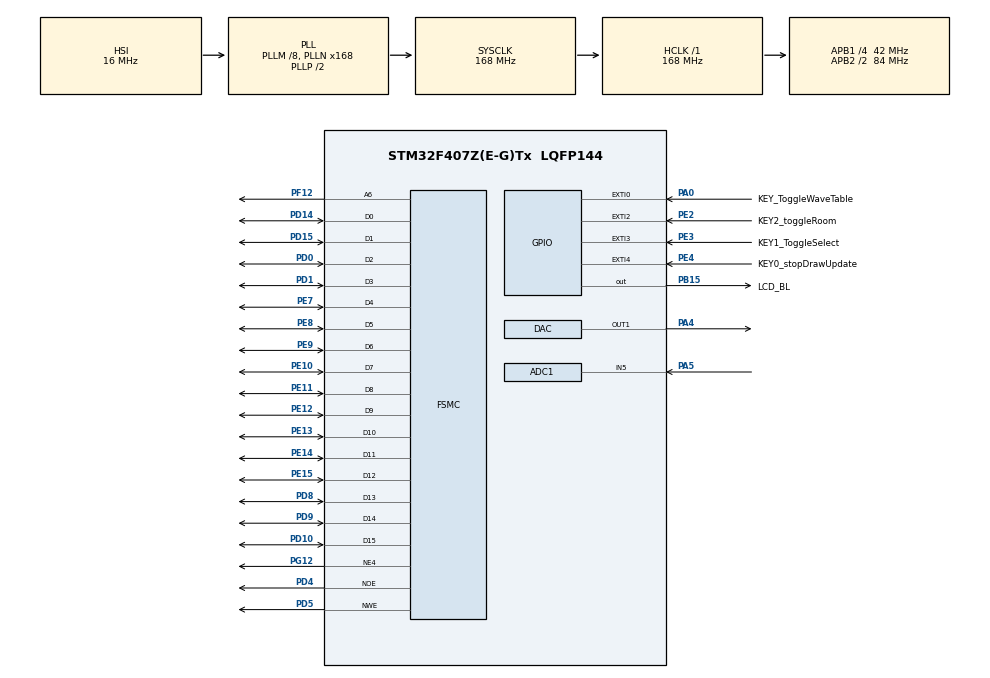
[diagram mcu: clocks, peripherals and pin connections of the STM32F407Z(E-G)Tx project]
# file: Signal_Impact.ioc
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ADC1.Channel-0\#ChannelRegularConversion=ADC_CHANNEL_5
ADC1.ExternalTrigConv=ADC_EXTERNALTRIGCONV_T3_TRGO
ADC1.NbrOfConversion=1
ADC1.NbrOfConversionFlag=1
ADC1.Rank-0\#ChannelRegularConversion=1
ADC1.SamplingTime-0\#ChannelRegularConversion=ADC_SAMPLETIME_3CYCLES
ADC1.master=1
DAC.DAC_OutputBuffer=DAC_OUTPUTBUFFER_DISABLE
DAC.DAC_Trigger=DAC_TRIGGER_T2_TRGO
Dma.ADC1.1.Direction=DMA_PERIPH_TO_MEMORY
Dma.ADC1.1.FIFOMode=DMA_FIFOMODE_ENABLE
Dma.ADC1.1.FIFOThreshold=DMA_FIFO_THRESHOLD_FULL
Dma.ADC1.1.Instance=DMA2_Stream0
Dma.ADC1.1.MemBurst=DMA_MBURST_SINGLE
Dma.ADC1.1.MemDataAlignment=DMA_MDATAALIGN_HALFWORD
Dma.ADC1.1.MemInc=DMA_MINC_ENABLE
Dma.ADC1.1.Mode=DMA_NORMAL
Dma.ADC1.1.PeriphBurst=DMA_PBURST_SINGLE
Dma.ADC1.1.PeriphDataAlignment=DMA_PDATAALIGN_HALFWORD
Dma.ADC1.1.PeriphInc=DMA_PINC_DISABLE
Dma.ADC1.1.Priority=DMA_PRIORITY_LOW
Dma.DAC1.0.Direction=DMA_MEMORY_TO_PERIPH
Dma.DAC1.0.FIFOMode=DMA_FIFOMODE_DISABLE
Dma.DAC1.0.Instance=DMA1_Stream5
Dma.DAC1.0.MemDataAlignment=DMA_MDATAALIGN_HALFWORD
Dma.DAC1.0.MemInc=DMA_MINC_ENABLE
Dma.DAC1.0.Mode=DMA_CIRCULAR
Dma.DAC1.0.PeriphDataAlignment=DMA_PDATAALIGN_HALFWORD
Dma.DAC1.0.PeriphInc=DMA_PINC_DISABLE
Dma.DAC1.0.Priority=DMA_PRIORITY_HIGH
Dma.Request0=DAC1
Dma.Request1=ADC1
FSMC.AddressSetupTime1=0
FSMC.DataSetupTime1=15
FSMC.ExtendedDataSetupTime1=1
FSMC.ExtendedMode1=FSMC_EXTENDED_MODE_ENABLE
Mcu.Family=STM32F4
Mcu.Name=STM32F407Z(E-G)Tx
Mcu.Package=LQFP144
NVIC.DMA1_Stream5_IRQn=true\:0\:0\:false\:false\:true\:false\:true\:true
NVIC.DMA2_Stream0_IRQn=true\:0\:0\:false\:false\:true\:false\:true\:true
NVIC.EXTI0_IRQn=true\:0\:0\:false\:false\:true\:true\:true\:true
NVIC.EXTI2_IRQn=true\:0\:0\:false\:false\:true\:true\:true\:true
NVIC.EXTI3_IRQn=true\:0\:0\:false\:false\:true\:true\:true\:true
NVIC.EXTI4_IRQn=true\:0\:0\:false\:false\:true\:true\:true\:true
NVIC.PriorityGroup=NVIC_PRIORITYGROUP_4
PA0-WKUP.GPIO_Label=KEY_ToggleWaveTable
PA0-WKUP.GPIO_ModeDefaultEXTI=GPIO_MODE_IT_RISING
PA0-WKUP.GPIO_PuPd=GPIO_PULLDOWN
PA0-WKUP.Signal=GPXTI0
PA4.Signal=COMP_DAC1_group
PA5.Signal=ADCx_IN5
PB15.GPIO_Label=LCD_BL
PB15.GPIO_PuPd=GPIO_PULLUP
PB15.GPIO_Speed=GPIO_SPEED_FREQ_HIGH
PB15.PinState=GPIO_PIN_SET
PB15.Signal=GPIO_Output
PD0.Signal=FSMC_D2_DA2
PD1.Signal=FSMC_D3_DA3
PD10.Signal=FSMC_D15_DA15
PD14.Signal=FSMC_D0_DA0
PD15.Signal=FSMC_D1_DA1
PD4.Signal=FSMC_NOE
PD5.Signal=FSMC_NWE
PD8.Signal=FSMC_D13_DA13
PD9.Signal=FSMC_D14_DA14
PE10.Signal=FSMC_D7_DA7
PE11.Signal=FSMC_D8_DA8
PE12.Signal=FSMC_D9_DA9
PE13.Signal=FSMC_D10_DA10
PE14.Signal=FSMC_D11_DA11
PE15.Signal=FSMC_D12_DA12
PE2.GPIO_Label=KEY2_toggleRoom
PE2.GPIO_ModeDefaultEXTI=GPIO_MODE_IT_FALLING
PE2.GPIO_PuPd=GPIO_PULLUP
PE2.Signal=GPXTI2
PE3.GPIO_Label=KEY1_ToggleSelect
PE3.GPIO_ModeDefaultEXTI=GPIO_MODE_IT_FALLING
PE3.GPIO_PuPd=GPIO_PULLUP
PE3.Signal=GPXTI3
PE4.GPIO_Label=KEY0_stopDrawUpdate
PE4.GPIO_ModeDefaultEXTI=GPIO_MODE_IT_FALLING
PE4.GPIO_PuPd=GPIO_PULLUP
PE4.Signal=GPXTI4
PE7.Signal=FSMC_D4_DA4
PE8.Signal=FSMC_D5_DA5
PE9.Signal=FSMC_D6_DA6
PF12.Signal=FSMC_A6
PG12.Mode=NorPsramChipSelect4_1
PG12.Signal=FSMC_NE4
ProjectManager.HeapSize=0x200
ProjectManager.StackSize=0x400
ProjectManager.TargetToolchain=STM32CubeIDE
RCC.48MHZClocksFreq_Value=84000000
RCC.AHBFreq_Value=168000000
RCC.APB1CLKDivider=RCC_HCLK_DIV4
RCC.APB1Freq_Value=42000000
RCC.APB1TimFreq_Value=84000000
RCC.APB2CLKDivider=RCC_HCLK_DIV2
RCC.APB2Freq_Value=84000000
RCC.APB2TimFreq_Value=168000000
RCC.CortexFreq_Value=168000000
RCC.HCLKFreq_Value=168000000
RCC.HSE_VALUE=25000000
RCC.HSI_VALUE=16000000
RCC.LSE_VALUE=32768
RCC.PLLM=8
RCC.PLLN=168
RCC.SYSCLKFreq_VALUE=168000000
RCC.SYSCLKSource=RCC_SYSCLKSOURCE_PLLCLK
RCC.VCOOutputFreq_Value=336000000
SH.ADCx_IN5.0=ADC1_IN5,IN5
SH.COMP_DAC1_group.0=DAC_OUT1,DAC_OUT1
SH.FSMC_A6.0=FSMC_A6,A6_1
SH.FSMC_D0_DA0.0=FSMC_D0,16b-d1
SH.FSMC_D10_DA10.0=FSMC_D10,16b-d1
SH.FSMC_D11_DA11.0=FSMC_D11,16b-d1
SH.FSMC_D12_DA12.0=FSMC_D12,16b-d1
SH.FSMC_D13_DA13.0=FSMC_D13,16b-d1
SH.FSMC_D14_DA14.0=FSMC_D14,16b-d1
SH.FSMC_D15_DA15.0=FSMC_D15,16b-d1
SH.FSMC_D1_DA1.0=FSMC_D1,16b-d1
SH.FSMC_D2_DA2.0=FSMC_D2,16b-d1
SH.FSMC_D3_DA3.0=FSMC_D3,16b-d1
SH.FSMC_D4_DA4.0=FSMC_D4,16b-d1
SH.FSMC_D5_DA5.0=FSMC_D5,16b-d1
SH.FSMC_D6_DA6.0=FSMC_D6,16b-d1
SH.FSMC_D7_DA7.0=FSMC_D7,16b-d1
SH.FSMC_D8_DA8.0=FSMC_D8,16b-d1
SH.FSMC_D9_DA9.0=FSMC_D9,16b-d1
SH.FSMC_NOE.0=FSMC_NOE,Lcd1
SH.FSMC_NWE.0=FSMC_NWE,Lcd1
TIM2.AutoReloadPreload=TIM_AUTORELOAD_PRELOAD_ENABLE
TIM2.Period=840-1
TIM2.TIM_MasterOutputTrigger=TIM_TRGO_UPDATE
TIM3.AutoReloadPreload=TIM_AUTORELOAD_PRELOAD_ENABLE
TIM3.Period=2100-1
TIM3.TIM_MasterOutputTrigger=TIM_TRGO_UPDATE
VP_TIM2_VS_ClockSourceINT.Mode=Internal
VP_TIM3_VS_ClockSourceINT.Mode=Internal
board=custom

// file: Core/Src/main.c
/* USER CODE BEGIN Header */
/**
 ******************************************************************************
 * @file           : main.c
 * @brief          : Main program body
 ******************************************************************************
 * @attention
 *
 * Copyright (c) 2024 STMicroelectronics.
 * All rights reserved.
 *
 * This software is licensed under terms that can be found in the LICENSE file
 * in the root directory of this software component.
 * If no LICENSE file comes with this software, it is provided AS-IS.
 *
 ******************************************************************************
 */
/* USER CODE END Header */
#include "main.h"
#include "adc.h"
#include "dac.h"
#include "dma.h"
#include "tim.h"
#include "gpio.h"
#include "fsmc.h"

/* USER CODE BEGIN Includes */
#include "../../Drivers/BSP/LCD/lcd.h"

#include "waveform_table.h"
#include "arm_math.h"
#include "arm_const_structs.h"
#include "lcdMaster.h"
/* USER CODE END Includes */

void SystemClock_Config(void);

/* USER CODE BEGIN 0 */
//标志位
//（波形绘制准备&本轮ADC-DMA完成）标志位，配合完成波形采样及显示工作
uint8_t Sign_readyDisplay = 0;
uint8_t Sign_samplingOver = 0;
//DAC发生波形切换标志位
uint8_t Sign_dacToggleWave = 0;
//波形显示缩放标志位
uint8_t Sign_waveZoomIn = 0;
uint8_t Sign_waveZoomOut = 0;
//文本刷新标志位，默认为1，即第一次绘图刷新一次文本，将文本显示出来
uint8_t Sign_stringUpdate = 1;
//程序运行标志位，默认为0，为1则程序暂停运行，方便观察波形
uint8_t Sign_stop = 0;
//波形存在标志位,0不存在,1存在
uint8_t Sign_wave_exist = 0;
//程序当前功能{0:波形,1:调频,2:缩放,3:暂停}
uint8_t Sign_function = 0;
//程序当前数据类型{0:基波频率,1:信号幅值}
uint8_t valueData_type = 0;

//当前发生波频率
uint16_t wave_frequency = 1000;

//采样波基频
uint16_t base_frequency = 1000;
//采样波最值及其在采样点中的对应位置{最大值,最小值},{最大值位置,最小值位置}
float wave_maximum[2] = { 3.30, 0.00 };
uint32_t wave_maximum_index[2] = { 0, 0 };
//求解最值专用缓存，求解范围为绘图区域
float wave_maximum_Cache[plot_size] = { 0 };

//两个波，一个时域、一个频域
wave wave_t = { 't', 1, 1, { 0 } };
wave wave_f = { 'f', 2, 1, { 0 } };

//DAC波形选择指针，用来调整DAC当前生成的波形，默认为正弦波
uint16_t *wave_table[4] = { sin_table, square_table, triangle_table,
		sawtooth_table };
uint16_t wave_table_i = 0;

//ADC采样结果缓存
uint16_t adc_cache[adc_cache_size];

//ADC采样频率
//uint32_t adc_fs = 40e3;
uint32_t adc_fs = 51.2e3;

//lcd显示的字符信息
//ADC采样频率信息、当前选中的波形、放大倍数
char *show_string_fs = { "fs:51.2kHz" };
//char* show_string_choice[2] = {"choice:t","choice:f"};
//char* show_string_zoomIn[4] = {"倍数:1","倍数:2","倍数:3","倍数:4"};
//char* show_string_waveType[4] = {"正弦","方波","三角","锯齿"};
//char* show_string_function[4] = {"波形","调频","缩放","暂停"};
char *show_string_zoomIn[4] = { "Z1", "Z2", "Z3", "Z4" };
char *show_string_waveType[4] = { "sine", "square", "triangle", "sawtooth" };
char *show_string_function[5] =
		{ "wave", "genFre", "zoom", "section", "measure" };
char *show_string_stopORrun[2] = { "dynamic", "static" };
char *show_string_measureType[2] = { "baseFre", "voltage" };
//当前波形频率
char show_string_wave_frequency[10] = { "1000Hz" };
//基波频率
char show_string_base_frequency[16] = { "BF:1000Hz" };
//电压最值
char show_string_voltage_maximum[2][16] = { { "Vmax:3.30V" }, { "Vmin:0.00V" } };
//波形缩放(放大)倍数{1,2,3,4}
uint16_t zoomInMultiple = 1;

//时域图像绘图数据缓存
//plot_size|(480)个点，point_i(x,y)对应(draw_t_cache[i][0],draw_t_cache[i][1])
uint16_t draw_t_cache[plot_size][2];

//频域图像绘图数据缓存
//plot_size|(480)个点，point_i(x,y)对应(draw_f_cache[i][0],draw_f_cache[i][1])
uint16_t draw_f_cache[plot_size][2];

//FFT初始化
arm_cfft_radix4_instance_f32 scfft; //FFT结构体
//FFT输入输出
float FFT_INPUT[adc_cache_size * 2]; //对应每个实部创建虚部，所以2倍长
float FFT_OUTPUT[adc_cache_size]; //FFT输出进行了处理，每个float高低16位分别存放实部虚部，无需2倍
float FFT_OUTPUT_MAX = 0;
uint32_t FFT_OUTPUT_MAX_index = 0;

//计数专用i
uint16_t i = 0;
//防闪用图像刷新计数，为0刷新图像
#define CNT_drawUpdate 8
uint16_t i_drawUpdate = 1;

//触发位置
uint16_t i_trigger = 0;
/* USER CODE END 0 */

int main(void) {

	/* MCU Configuration--------------------------------------------------------*/

	/* Reset of all peripherals, Initializes the Flash interface and the Systick. */
	HAL_Init();

	/* Configure the system clock */
	SystemClock_Config();

	/* Initialize all configured peripherals */
	MX_GPIO_Init();
	MX_DMA_Init();
	MX_FSMC_Init();
	MX_ADC1_Init();
	MX_DAC_Init();
	MX_TIM2_Init();
	MX_TIM3_Init();
	/* USER CODE BEGIN 2 */

	//开启LCD屏幕
	lcd_init();
	lcd_display_dir(1);

	//开启DAC
	HAL_TIM_Base_Start(&htim2);
	HAL_DAC_Start_DMA(&hdac, DAC1_CHANNEL_1,
			(uint32_t*) wave_table[wave_table_i], N_sampling__,
			DAC_ALIGN_12B_R);

	//开启ADC
	HAL_TIM_Base_Start(&htim3);
	//设置调整ADC采样率
	htim3.Instance->ARR = 84e6 / adc_fs - 1;
	//开始传输下轮数据，标志位置0
	Sign_samplingOver = 0;
	HAL_ADC_Start_DMA(&hadc1, (uint32_t*) adc_cache, adc_cache_size);

	//绘图界面投影网格
	uint16_t delta_x[11] = { 0, 10, 20, 30, 40, 50, 60, 70, 80, 90, 100 };
	uint16_t delta_y[11] = { 0, 10, 20, 30, 40, 50, 60, 70, 80, 90, 100 };

	//初始化lcd UI
	lcdMaster_InitUI();

	/* USER CODE END 2 */

	/* Infinite loop */
	/* USER CODE BEGIN WHILE */
	while (1) {
		//准备绘图，先置一个标志位
		Sign_readyDisplay = 1;
		Sign_wave_exist = 0;
		//等待当前轮次ADC-DMA传输完成
		while (!Sign_samplingOver)
			;
		//寻找触发点
		i_trigger = adc_trigger_size; //找不到便显示最新采样结果
		for (i = 0; i < adc_trigger_size; i++) {
			if (adc_cache[i] < 50 && adc_cache[i + 1] > 50) {
				i_trigger = i;
				Sign_wave_exist = 1;
				break;
			}
		}
		if (!Sign_wave_exist) { //波形不存在则重新采样
			Sign_readyDisplay = 0;
			Sign_samplingOver = 0;
			HAL_ADC_Start_DMA(&hadc1, (uint32_t*) adc_cache, adc_cache_size);
			continue;
		}

		//先计算绘图所需参数，再清除上次图像，最后再开始绘图，这样可以尽可能压缩屏幕空白的时间，改善视觉效果
		//此时ADC-DMA处于关闭状态，不必担心缓存数据被新数据覆盖

		//时域
		//求解时域绘图所需点集
		for (i = 0; i < plot_size; i++) {
			wave_t.draw_cache[i][0] = (i) + delta_x[0];
			//0.0268554687 = 110/4096
			wave_t.draw_cache[i][1] = 160 - delta_y[3]
					- (adc_cache[i_trigger + (i)] * 0.0268554687);
		}

		//频域，FFT
		//处理输入数据
		for (i = 0; i < adc_cache_size; i++) {		//采样数据转换
			FFT_INPUT[i * 2] = (float) (adc_cache[i]);
			FFT_INPUT[i * 2 + 1] = 0;		//交替插零，添加数据的虚部
		}
		//FFT运算
		arm_cfft_f32(&arm_cfft_sR_f32_len1024, FFT_INPUT, 0, 1);
		//转化为实数并取模|计算 FFT 输出的幅度
		arm_cmplx_mag_f32(FFT_INPUT, FFT_OUTPUT, adc_cache_size);
		//是否去除直流分量，不注释那就是去掉
//		FFT_OUTPUT[0]=0;
		//取出最大值方便一会儿绘图映射坐标
		arm_max_f32(FFT_OUTPUT, adc_cache_size, &FFT_OUTPUT_MAX,
				&FFT_OUTPUT_MAX_index);
		FFT_OUTPUT[0] = 0;
		arm_max_f32(FFT_OUTPUT, adc_cache_size / 2, &FFT_OUTPUT_MAX,
				&FFT_OUTPUT_MAX_index);
		base_frequency = adc_fs * FFT_OUTPUT_MAX_index / 1024;
		//求解频域绘图所需点集
		for (i = 0; i < plot_size; i++) {
			wave_f.draw_cache[i][0] = (i) + delta_x[0];
			//**映射系数1.06875 = (512+1)/480
			//映射，完全绘出FFT结果
//			wave_f.draw_cache[i][1] = (uint16_t)(320-delta_y[5]-(FFT_OUTPUT[(uint16_t)(1.06875*i)]*110/FFT_OUTPUT_MAX));
			//不映射，绘制大部分FFT结果
			wave_f.draw_cache[i][1] = (uint16_t) (320 - delta_y[5]
					- (FFT_OUTPUT[(uint16_t) (i)] * 110 / FFT_OUTPUT_MAX));
//			draw_f_cache[i][1] = (uint16_t)(320-(FFT_OUTPUT[(uint16_t)(0.51*i)]*110/FFT_OUTPUT_MAX+delta_y[1]));
		}

		switch (valueData_type) {			//判断动态刷新的数值类型{基波频率，波形最值}
		case 0:
			//去除直流分量再求一次最值得到基波频率
			FFT_OUTPUT[0] = 0;
			arm_max_f32(FFT_OUTPUT, adc_cache_size / 2, &FFT_OUTPUT_MAX,
					&FFT_OUTPUT_MAX_index);
			base_frequency = adc_fs * FFT_OUTPUT_MAX_index / 1024;
			//得到基波频率字符串
			sprintf(show_string_base_frequency, "BF:%dHz", base_frequency);
			break;
		case 1:
			//为了简化运算量，不使用原始数据，使用绘图数据
			for (i = 0; i < plot_size; i++) {
				wave_maximum_Cache[i] = (float) adc_cache[i_trigger + i];
			}
			arm_max_f32(wave_maximum_Cache, plot_size, &wave_maximum[0],
					&wave_maximum_index[0]);
			arm_min_f32(wave_maximum_Cache, plot_size, &wave_maximum[1],
					&wave_maximum_index[1]);
			sprintf(show_string_voltage_maximum[0], "Vmax:%.3fV",
					wave_maximum[0] * 3.3 / 4095);
			sprintf(show_string_voltage_maximum[1], "Vmin:%.3fV",
					wave_maximum[1] * 3.3 / 4095);
			break;
		default:
			break;
		}

		//开绘~
		//横屏绘制 x_MAX = 480 & y_MAX = 320
		i_drawUpdate--;
		if (i_drawUpdate == 0) {		//慢速绘图，多次刷新数据，只绘制一帧
			i_drawUpdate = CNT_drawUpdate;
			//先清屏再绘图，为了良好的视觉体验，采用局部清屏，刷新哪些内容，就清哪部分
			//利用adc_cache[adc_trigger_size+i]绘图
			//绘图暂停位，为1则不再绘图，以此制作波形切片。
			if (!Sign_stop) {
				//首先绘制波形图
				//清除时域图像并重新绘制
				lcdMaster_Clear(lcdRoom_wave_t);
				for (i = 0; i < plot_size / zoomInMultiple - 1; i++) {
					lcd_draw_line(wave_t.draw_cache[i * zoomInMultiple][0],
							wave_t.draw_cache[i][1],
							wave_t.draw_cache[(i + 1) * zoomInMultiple][0],
							wave_t.draw_cache[i + 1][1], RED);
				}
				//清除频域图像并重新绘制
				lcdMaster_Clear(lcdRoom_wave_f);
				for (i = 0; i < plot_size / zoomInMultiple - 1; i++) {
					lcd_draw_line(wave_f.draw_cache[i * zoomInMultiple][0],
							wave_f.draw_cache[i][1],
							wave_f.draw_cache[(i + 1) * zoomInMultiple][0],
							wave_f.draw_cache[i + 1][1], RED);
				}
				//刷新动态显示的数值信息，切片时不再刷新
				switch (valueData_type) {
				case 0:
					//基波频率
					lcdMaster_Clear(lcdRoom_bf);
					lcd_show_string(362, 320 - delta_y[3], 110, 24, 24,
							show_string_base_frequency, DARK_YELLOW);
					break;
				case 1:
					//信号幅值
					lcdMaster_Clear(lcdRoom_bf);
					lcd_show_string(362, 320 - 33, 120, 16, 16,
							show_string_voltage_maximum[0], DARK_YELLOW);
					lcd_show_string(362, 320 - 17, 120, 16, 16,
							show_string_voltage_maximum[1], DARK_YELLOW);
					break;
				}
			}

			//选择性刷新各种信息
			if (Sign_stringUpdate) {
				lcdMaster_Clear(lcdRoom_string);
				//两边各距边缘6，480-6*2=468，468/3=156(实际上，我看着屏幕调的大致位置)
				//当前功能
				lcd_show_string(10, 320 - delta_y[3], 100, 24, 24,
						show_string_function[Sign_function], DARK_YELLOW);
				//功能参数
				switch (Sign_function) {
				case 0:				//当前波形
					lcd_show_string(120, 320 - delta_y[3], 120, 24, 24,
							show_string_waveType[wave_table_i], DARK_YELLOW);
					break;
				case 1:				//当前波形频率
					lcd_show_string(120, 320 - delta_y[3], 120, 24, 24,
							show_string_wave_frequency, DARK_YELLOW);
					break;
				case 2:				//当前波形的缩放倍数
					lcd_show_string(120, 320 - delta_y[3], 120, 24, 24,
							show_string_zoomIn[zoomInMultiple - 1],
							DARK_YELLOW);
					break;
				case 3:				//停止或运行
					lcd_show_string(120, 320 - delta_y[3], 120, 24, 24,
							show_string_stopORrun[Sign_stop], DARK_YELLOW);
					break;
				case 4:				//显示的数据类型{基波频率,电压}
					lcd_show_string(120, 320 - delta_y[3], 120, 24, 24,
							show_string_measureType[valueData_type],
							DARK_YELLOW);
					break;
				default:
					break;
				}
				//采样频率
				lcd_show_string(230, 320 - delta_y[3], 110, 24, 24,
						show_string_fs, DARK_YELLOW);
				//信息已刷新，复位标志位
				Sign_stringUpdate = 0;
			}
		}

		//绘图完成，复位标志位，重新开启ADC-DMA
		Sign_readyDisplay = 0;
		Sign_samplingOver = 0;
		HAL_ADC_Start_DMA(&hadc1, (uint32_t*) adc_cache, adc_cache_size);

		//DAC波形是否需要切换
		if (Sign_dacToggleWave == 1) {				//需要
			//诶，我1ms都不消，就是贪
//    		//延迟10ms消抖
//    		HAL_Delay(10);
			//刷新DAC产生的波形
			HAL_DAC_Stop_DMA(&hdac, DAC1_CHANNEL_1);
			HAL_DAC_Start_DMA(&hdac, DAC1_CHANNEL_1,
					(uint32_t*) wave_table[wave_table_i], N_sampling__,
					DAC_ALIGN_12B_R);
			Sign_dacToggleWave = 0;    		//复位标志位
			HAL_NVIC_EnableIRQ(KEY_ToggleWaveTable_EXTI_IRQn);    	//再次开启切换波形中断
		}
		/* USER CODE END WHILE */

	}
}

void SystemClock_Config(void) {
	RCC_OscInitTypeDef RCC_OscInitStruct = { 0 };
	RCC_ClkInitTypeDef RCC_ClkInitStruct = { 0 };

	/** Configure the main internal regulator output voltage
	 */
	__HAL_RCC_PWR_CLK_ENABLE();
	__HAL_PWR_VOLTAGESCALING_CONFIG(PWR_REGULATOR_VOLTAGE_SCALE1);

	/** Initializes the RCC Oscillators according to the specified parameters
	 * in the RCC_OscInitTypeDef structure.
	 */
	RCC_OscInitStruct.OscillatorType = RCC_OSCILLATORTYPE_HSI;
	RCC_OscInitStruct.HSIState = RCC_HSI_ON;
	RCC_OscInitStruct.HSICalibrationValue = RCC_HSICALIBRATION_DEFAULT;
	RCC_OscInitStruct.PLL.PLLState = RCC_PLL_ON;
	RCC_OscInitStruct.PLL.PLLSource = RCC_PLLSOURCE_HSI;
	RCC_OscInitStruct.PLL.PLLM = 8;
	RCC_OscInitStruct.PLL.PLLN = 168;
	RCC_OscInitStruct.PLL.PLLP = RCC_PLLP_DIV2;
	RCC_OscInitStruct.PLL.PLLQ = 4;
	if (HAL_RCC_OscConfig(&RCC_OscInitStruct) != HAL_OK) {
		Error_Handler();
	}

	/** Initializes the CPU, AHB and APB buses clocks
	 */
	RCC_ClkInitStruct.ClockType = RCC_CLOCKTYPE_HCLK | RCC_CLOCKTYPE_SYSCLK
			| RCC_CLOCKTYPE_PCLK1 | RCC_CLOCKTYPE_PCLK2;
	RCC_ClkInitStruct.SYSCLKSource = RCC_SYSCLKSOURCE_PLLCLK;
	RCC_ClkInitStruct.AHBCLKDivider = RCC_SYSCLK_DIV1;
	RCC_ClkInitStruct.APB1CLKDivider = RCC_HCLK_DIV4;
	RCC_ClkInitStruct.APB2CLKDivider = RCC_HCLK_DIV2;

	if (HAL_RCC_ClockConfig(&RCC_ClkInitStruct, FLASH_LATENCY_5) != HAL_OK) {
		Error_Handler();
	}
}

void Error_Handler(void) {
	__disable_irq();
	while (1) {
	}
}
